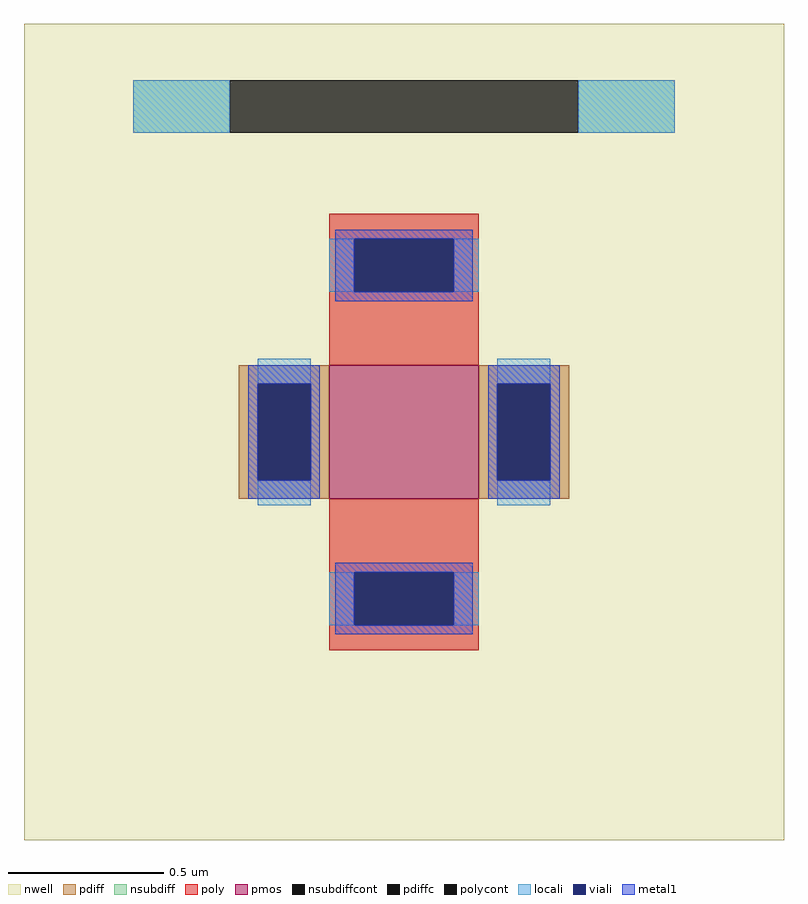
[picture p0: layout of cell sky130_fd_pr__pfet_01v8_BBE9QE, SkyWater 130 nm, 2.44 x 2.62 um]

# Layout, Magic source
magic
tech sky130A
magscale 1 2
<< nwell >>
rect -244 -262 244 262
<< pmos >>
rect -48 -43 48 43
<< pdiff >>
rect -106 31 -48 43
rect -106 -31 -94 31
rect -60 -31 -48 31
rect -106 -43 -48 -31
rect 48 31 106 43
rect 48 -31 60 31
rect 94 -31 106 31
rect 48 -43 106 -31
<< pdiffc >>
rect -94 -31 -60 31
rect 60 -31 94 31
<< nsubdiff >>
rect -174 192 -112 226
rect 112 192 174 226
<< nsubdiffcont >>
rect -112 192 112 226
<< poly >>
rect -48 124 48 140
rect -48 90 -32 124
rect 32 90 48 124
rect -48 43 48 90
rect -48 -90 48 -43
rect -48 -124 -32 -90
rect 32 -124 48 -90
rect -48 -140 48 -124
<< polycont >>
rect -32 90 32 124
rect -32 -124 32 -90
<< locali >>
rect -174 192 -112 226
rect 112 192 174 226
rect -48 90 -32 124
rect 32 90 48 124
rect -94 31 -60 47
rect -94 -47 -60 -31
rect 60 31 94 47
rect 60 -47 94 -31
rect -48 -124 -32 -90
rect 32 -124 48 -90
<< viali >>
rect -32 90 32 124
rect -94 -31 -60 31
rect 60 -31 94 31
rect -32 -124 32 -90
<< metal1 >>
rect -44 124 44 130
rect -44 90 -32 124
rect 32 90 44 124
rect -44 84 44 90
rect -100 31 -54 43
rect -100 -31 -94 31
rect -60 -31 -54 31
rect -100 -43 -54 -31
rect 54 31 100 43
rect 54 -31 60 31
rect 94 -31 100 31
rect 54 -43 100 -31
rect -44 -90 44 -84
rect -44 -124 -32 -90
rect 32 -124 44 -90
rect -44 -130 44 -124
<< properties >>
string FIXED_BBOX -191 -209 191 209
string gencell sky130_fd_pr__pfet_01v8
string library sky130
string parameters w 0.43 l 0.48 m 1 nf 1 diffcov 100 polycov 100 guard 1 glc 1 grc 1 gtc 1 gbc 1 tbcov 100 rlcov 100 topc 1 botc 1 poverlap 0 doverlap 1 lmin 0.15 wmin 0.42 compatible {sky130_fd_pr__pfet_01v8  sky130_fd_pr__pfet_01v8_lvt sky130_fd_pr__pfet_01v8_hvt  sky130_fd_pr__pfet_g5v0d10v5} full_metal 1 viasrc 100 viadrn 100 viagate 100 viagb 0 viagr 0 viagl 0 viagt 0
<< end >>
